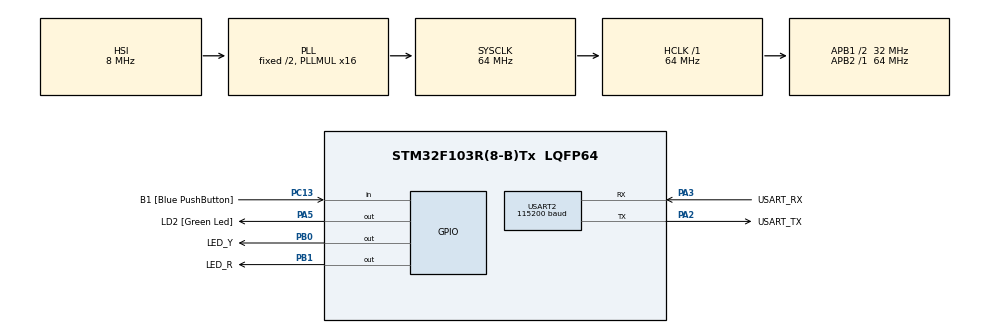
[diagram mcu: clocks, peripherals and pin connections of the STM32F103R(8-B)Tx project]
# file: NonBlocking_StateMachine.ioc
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Mcu.Family=STM32F1
Mcu.Name=STM32F103R(8-B)Tx
Mcu.Package=LQFP64
NVIC.PriorityGroup=NVIC_PRIORITYGROUP_4
PA13.GPIO_Label=TMS
PA13.Mode=Serial_Wire
PA13.Signal=SYS_JTMS-SWDIO
PA14.GPIO_Label=TCK
PA14.Mode=Serial_Wire
PA14.Signal=SYS_JTCK-SWCLK
PA2.GPIO_Label=USART_TX
PA2.GPIO_Mode=GPIO_MODE_AF_PP
PA2.GPIO_PuPd=GPIO_NOPULL
PA2.GPIO_Speed=GPIO_SPEED_FREQ_LOW
PA2.Mode=Asynchronous
PA2.Signal=USART2_TX
PA3.GPIO_Label=USART_RX
PA3.GPIO_PuPd=GPIO_NOPULL
PA3.GPIO_Speed=GPIO_SPEED_FREQ_LOW
PA3.Mode=Asynchronous
PA3.Signal=USART2_RX
PA5.GPIO_Label=LD2 [Green Led]
PA5.GPIO_ModeDefaultOutputPP=GPIO_MODE_OUTPUT_PP
PA5.GPIO_PuPd=GPIO_NOPULL
PA5.GPIO_Speed=GPIO_SPEED_FREQ_LOW
PA5.Signal=GPIO_Output
PB0.GPIO_Label=LED_Y
PB0.GPIO_ModeDefaultOutputPP=GPIO_MODE_OUTPUT_PP
PB0.GPIO_PuPd=GPIO_NOPULL
PB0.GPIO_Speed=GPIO_SPEED_FREQ_LOW
PB0.Signal=GPIO_Output
PB1.GPIO_Label=LED_R
PB1.GPIO_ModeDefaultOutputPP=GPIO_MODE_OUTPUT_PP
PB1.GPIO_PuPd=GPIO_NOPULL
PB1.GPIO_Speed=GPIO_SPEED_FREQ_LOW
PB1.Signal=GPIO_Output
PB3.GPIO_Label=SWO
PB3.Signal=SYS_JTDO-TRACESWO
PC13-TAMPER-RTC.GPIO_Label=B1 [Blue PushButton]
PC13-TAMPER-RTC.GPIO_PuPd=GPIO_NOPULL
PC13-TAMPER-RTC.Signal=GPIO_Input
PC14-OSC32_IN.Mode=LSE-External-Oscillator
PC14-OSC32_IN.Signal=RCC_OSC32_IN
PC15-OSC32_OUT.Mode=LSE-External-Oscillator
PC15-OSC32_OUT.Signal=RCC_OSC32_OUT
PD0-OSC_IN.Mode=HSE-External-Clock-Source
PD0-OSC_IN.Signal=RCC_OSC_IN
PD1-OSC_OUT.Mode=HSE-External-Clock-Source
PD1-OSC_OUT.Signal=RCC_OSC_OUT
ProjectManager.HeapSize=0x200
ProjectManager.StackSize=0x400
ProjectManager.TargetToolchain=STM32CubeIDE
RCC.AHBFreq_Value=64000000
RCC.APB1CLKDivider=RCC_HCLK_DIV2
RCC.APB1Freq_Value=32000000
RCC.APB1TimFreq_Value=64000000
RCC.APB2Freq_Value=64000000
RCC.APB2TimFreq_Value=64000000
RCC.HCLKFreq_Value=64000000
RCC.PLLMUL=RCC_PLL_MUL16
RCC.RTCClockSelection=RCC_RTCCLKSOURCE_LSE
RCC.SYSCLKFreq_VALUE=64000000
RCC.SYSCLKSource=RCC_SYSCLKSOURCE_PLLCLK
RCC.USBFreq_Value=64000000
USART2.BaudRate=115200
USART2.VirtualMode=VM_ASYNC
board=NUCLEO-F103RB

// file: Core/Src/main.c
/* USER CODE BEGIN Header */
/**
 ******************************************************************************
 * @file           : main.c
 * @brief          : Main program body
 ******************************************************************************
 * @attention
 *
 * Copyright (c) 2026 STMicroelectronics.
 * All rights reserved.
 *
 * This software is licensed under terms that can be found in the LICENSE file
 * in the root directory of this software component.
 * If no LICENSE file comes with this software, it is provided AS-IS.
 *
 ******************************************************************************
 */
/**
 * 11_NonBlocking_StateMachine_HAL_c  —  [계층: HAL]  HAL_Delay 없이 상태 머신(FSM)으로 만든 보행자 신호등
 *
 * 왜 상태 머신인가
 *   HAL_Delay() 로 순서대로 쓰면 그 시간 동안 버튼 입력·통신 등 다른 일을 전혀 못 한다.
 *   "지금 상태"와 "상태가 시작된 시각"만 기억하고, 루프를 계속 돌리며 (a) 시간 경과 (b) 버튼 이벤트를 확인해 상태를 바꾸면
 *   여러 일이 겹쳐도 반응성이 유지된다. (delay 탈출)
 *
 * 신호등 시나리오 (LED 3개)
 *   G(녹색) 5초 -> Y(황색) 1초 -> R(적색) 3초 -> G ...
 *   보행자 버튼(B1): 녹색 상태에서 최소 2초가 지난 뒤 누르면 남은 녹색을 건너뛰고 바로 황색으로 (녹색 최소 보장 시간).
 *   황색/적색 중 누른 경우는 요청만 기억했다가 다음 녹색이 최소 시간을 채운 뒤 즉시 황색으로 전환.
 *
 * 핀 (Nucleo-F103RB) : 녹색 = LD2(PA5), 황색 = PB0 ('A3'), 적색 = PB1 (Morpho CN10). 외부 LED 는 330Ω 저항과 직렬로 GND 로.
 *
 * 구현 요점
 *   - 상태 = enum, 전환 조건 = 시간(HAL_GetTick 차이, 오버플로 안전) 또는 이벤트
 *   - 진입 동작(entry action)은 전환 함수 한 곳에서만 수행 -> 상태가 바뀔 때 LED/로그가 항상 일관됨
 *   - 버튼은 5ms 마다 샘플링하는 "연속 N회 일치" 디바운스, 눌림 "에지"에서만 이벤트 발생
 *   - 상태 전환 로그를 UART(115200)로 출력 (시간 표시). 로그 출력 중에도 폴링 주기가 크게 흔들리지 않도록 짧은 문자열만 사용
 *
 * 인터럽트를 사용하지 않는다 (SysTick 이 HAL_GetTick 을 위해 돌고 있을 뿐).
 */
/* USER CODE END Header */
#include "main.h"

/* USER CODE BEGIN Includes */
#include <stdio.h>
#include <string.h>
/* USER CODE END Includes */

/* USER CODE BEGIN PTD */
typedef enum { ST_GREEN, ST_YELLOW, ST_RED } state_t;

/* USER CODE END PTD */

/* USER CODE BEGIN PD */
#define T_GREEN_MS      5000U
#define T_GREEN_MIN_MS  2000U
#define T_YELLOW_MS     1000U
#define T_RED_MS        3000U
#define DEBOUNCE_N      4U          /* 5ms x 4 = 20ms 연속 일치 */

/* USER CODE END PD */

UART_HandleTypeDef huart2;

/* USER CODE BEGIN PV */
static state_t state;
static uint32_t state_since;
static uint8_t ped_request;

static const char *const state_name[] = { "GREEN", "YELLOW", "RED" };
/* USER CODE END PV */

void SystemClock_Config(void);
static void MX_GPIO_Init(void);
static void MX_USART2_UART_Init(void);

/* USER CODE BEGIN 0 */
static void set_leds(state_t s)
{
    HAL_GPIO_WritePin(LD2_GPIO_Port, LD2_Pin, s == ST_GREEN  ? GPIO_PIN_SET : GPIO_PIN_RESET);
    HAL_GPIO_WritePin(LED_Y_GPIO_Port, LED_Y_Pin, s == ST_YELLOW ? GPIO_PIN_SET : GPIO_PIN_RESET);
    HAL_GPIO_WritePin(LED_R_GPIO_Port, LED_R_Pin, s == ST_RED    ? GPIO_PIN_SET : GPIO_PIN_RESET);
}

/* 상태 전환의 유일한 통로: 진입 동작(LED, 시각, 로그)을 한 곳에 모은다 */
static void enter_state(state_t next, const char *reason)
{
    state = next;
    state_since = HAL_GetTick();
    set_leds(next);

    char m[64];
    int n = snprintf(m, sizeof m, "[%6lu ms] -> %-6s (%s)\r\n", (unsigned long)state_since, state_name[next], reason);
    HAL_UART_Transmit(&huart2, (uint8_t *)m, (uint16_t)n, 50);
}

/* 5ms 마다 호출: 연속 N회 같은 값이면 확정, 눌림 에지에서 1 반환 */
static int button_pressed_edge(void)
{
    static uint8_t cnt, stable = 1, last_raw = 1;
    uint8_t raw = (HAL_GPIO_ReadPin(B1_GPIO_Port, B1_Pin) == GPIO_PIN_SET);   /* 1 = 뗌, 0 = 눌림 */
    if (raw == last_raw) { if (cnt < DEBOUNCE_N) cnt++; } else { cnt = 0; last_raw = raw; }

    if (cnt >= DEBOUNCE_N && raw != stable)
    {
        stable = raw;
        if (stable == 0) return 1;                     /* 눌림 에지 */
    }
    return 0;
}

/* USER CODE END 0 */

int main(void)
{

  /* MCU Configuration--------------------------------------------------------*/

  /* Reset of all peripherals, Initializes the Flash interface and the Systick. */
  HAL_Init();

  /* Configure the system clock */
  SystemClock_Config();

  /* Initialize all configured peripherals */
  MX_GPIO_Init();
  MX_USART2_UART_Init();
  /* USER CODE BEGIN 2 */
  HAL_UART_Transmit(&huart2, (uint8_t *)"\r\n[FSM traffic light] B1 = pedestrian request\r\n", 47, 100);
  enter_state(ST_GREEN, "boot");

  uint32_t t_key = HAL_GetTick();
  /* USER CODE END 2 */

  /* Infinite loop */
  while (1)
  {

    /* USER CODE BEGIN 3 */
    uint32_t now = HAL_GetTick();
    uint32_t in_state = now - state_since;         /* 부호 없는 뺄셈: 49일 래핑에도 안전 */

    /* ---- 이벤트 수집 (5ms 주기) ---- */
    if (now - t_key >= 5)
    {
      t_key += 5;
      if (button_pressed_edge()) ped_request = 1;
    }

    /* ---- 상태별 전환 규칙 ---- */
    switch (state)
    {
    case ST_GREEN:
      if (ped_request && in_state >= T_GREEN_MIN_MS) { ped_request = 0; enter_state(ST_YELLOW, "pedestrian request"); }
      else if (in_state >= T_GREEN_MS)               {                  enter_state(ST_YELLOW, "timeout"); }
      break;
    case ST_YELLOW:
      if (in_state >= T_YELLOW_MS) enter_state(ST_RED, "timeout");
      break;
    case ST_RED:
      if (in_state >= T_RED_MS) enter_state(ST_GREEN, "timeout");
      break;
    }
    /* 이 자리에 다른 논블로킹 작업을 자유롭게 추가할 수 있다 (센서 읽기, 통신 처리 등) */
  }
  /* USER CODE END 3 */
}

void SystemClock_Config(void)
{
  RCC_OscInitTypeDef RCC_OscInitStruct = {0};
  RCC_ClkInitTypeDef RCC_ClkInitStruct = {0};

  /** Initializes the RCC Oscillators according to the specified parameters
  * in the RCC_OscInitTypeDef structure.
  */
  RCC_OscInitStruct.OscillatorType = RCC_OSCILLATORTYPE_HSI;
  RCC_OscInitStruct.HSIState = RCC_HSI_ON;
  RCC_OscInitStruct.HSICalibrationValue = RCC_HSICALIBRATION_DEFAULT;
  RCC_OscInitStruct.PLL.PLLState = RCC_PLL_ON;
  RCC_OscInitStruct.PLL.PLLSource = RCC_PLLSOURCE_HSI_DIV2;
  RCC_OscInitStruct.PLL.PLLMUL = RCC_PLL_MUL16;
  if (HAL_RCC_OscConfig(&RCC_OscInitStruct) != HAL_OK)
  {
    Error_Handler();
  }

  /** Initializes the CPU, AHB and APB buses clocks
  */
  RCC_ClkInitStruct.ClockType = RCC_CLOCKTYPE_HCLK|RCC_CLOCKTYPE_SYSCLK
                              |RCC_CLOCKTYPE_PCLK1|RCC_CLOCKTYPE_PCLK2;
  RCC_ClkInitStruct.SYSCLKSource = RCC_SYSCLKSOURCE_PLLCLK;
  RCC_ClkInitStruct.AHBCLKDivider = RCC_SYSCLK_DIV1;
  RCC_ClkInitStruct.APB1CLKDivider = RCC_HCLK_DIV2;
  RCC_ClkInitStruct.APB2CLKDivider = RCC_HCLK_DIV1;

  if (HAL_RCC_ClockConfig(&RCC_ClkInitStruct, FLASH_LATENCY_2) != HAL_OK)
  {
    Error_Handler();
  }
}

static void MX_GPIO_Init(void)
{
  GPIO_InitTypeDef GPIO_InitStruct = {0};

  /* GPIO Ports Clock Enable */
  __HAL_RCC_GPIOC_CLK_ENABLE();
  __HAL_RCC_GPIOD_CLK_ENABLE();
  __HAL_RCC_GPIOA_CLK_ENABLE();
  __HAL_RCC_GPIOB_CLK_ENABLE();

  /*Configure GPIO pin Output Level */
  HAL_GPIO_WritePin(LD2_GPIO_Port, LD2_Pin, GPIO_PIN_RESET);

  /*Configure GPIO pin Output Level */
  HAL_GPIO_WritePin(GPIOB, LED_Y_Pin|LED_R_Pin, GPIO_PIN_RESET);

  /*Configure GPIO pin : B1_Pin */
  GPIO_InitStruct.Pin = B1_Pin;
  GPIO_InitStruct.Mode = GPIO_MODE_INPUT;
  GPIO_InitStruct.Pull = GPIO_NOPULL;
  HAL_GPIO_Init(B1_GPIO_Port, &GPIO_InitStruct);

  /*Configure GPIO pin : LD2_Pin */
  GPIO_InitStruct.Pin = LD2_Pin;
  GPIO_InitStruct.Mode = GPIO_MODE_OUTPUT_PP;
  GPIO_InitStruct.Pull = GPIO_NOPULL;
  GPIO_InitStruct.Speed = GPIO_SPEED_FREQ_LOW;
  HAL_GPIO_Init(LD2_GPIO_Port, &GPIO_InitStruct);

  /*Configure GPIO pins : LED_Y_Pin LED_R_Pin */
  GPIO_InitStruct.Pin = LED_Y_Pin|LED_R_Pin;
  GPIO_InitStruct.Mode = GPIO_MODE_OUTPUT_PP;
  GPIO_InitStruct.Pull = GPIO_NOPULL;
  GPIO_InitStruct.Speed = GPIO_SPEED_FREQ_LOW;
  HAL_GPIO_Init(GPIOB, &GPIO_InitStruct);

}

static void MX_USART2_UART_Init(void)
{

  huart2.Instance = USART2;
  huart2.Init.BaudRate = 115200;
  huart2.Init.WordLength = UART_WORDLENGTH_8B;
  huart2.Init.StopBits = UART_STOPBITS_1;
  huart2.Init.Parity = UART_PARITY_NONE;
  huart2.Init.Mode = UART_MODE_TX_RX;
  huart2.Init.HwFlowCtl = UART_HWCONTROL_NONE;
  huart2.Init.OverSampling = UART_OVERSAMPLING_16;
  if (HAL_UART_Init(&huart2) != HAL_OK)
  {
    Error_Handler();
  }

}

void Error_Handler(void)
{
  __disable_irq();
  while (1) {
  }
}
#ifdef USE_FULL_ASSERT
/**
  * @brief  Reports the name of the source file and the source line number
  *         where the assert_param error has occurred.
  * @param  file: pointer to the source file name
  * @param  line: assert_param error line source number
  * @retval None
  */
void assert_failed(uint8_t *file, uint32_t line)
{
  /* USER CODE BEGIN 6 */
  /* User can add his own implementation to report the file name and line
     number, ex: printf("Wrong parameters value: file %s on line %d\r\n", file,
     line) */
  /* USER CODE END 6 */
}
#endif /* USE_FULL_ASSERT */
